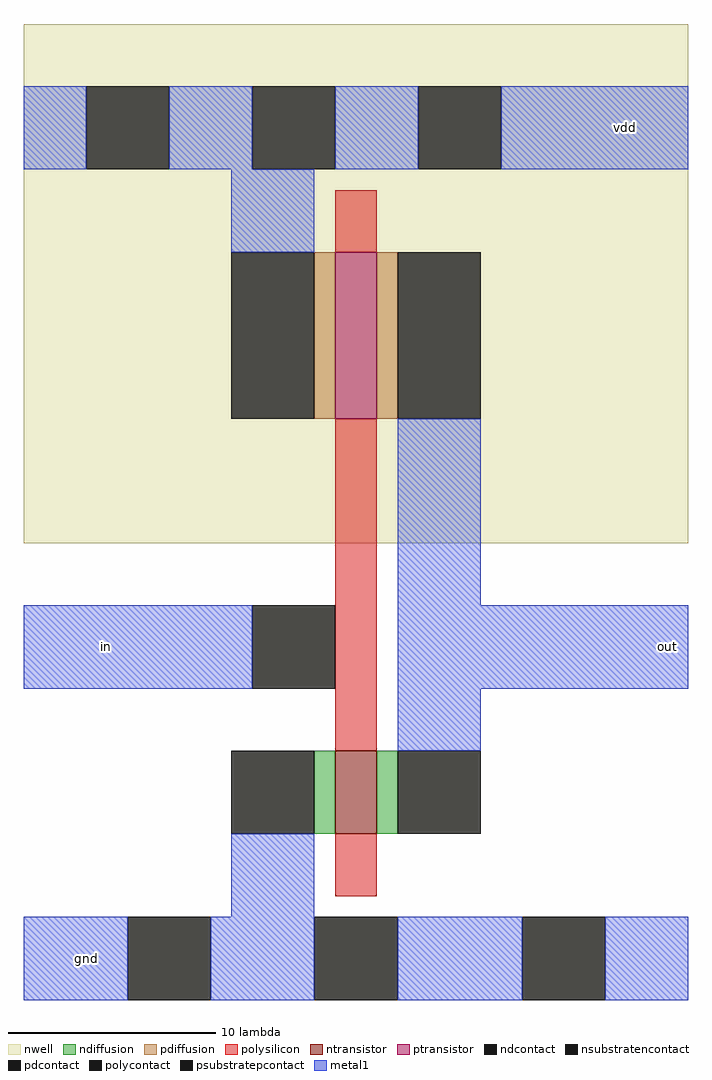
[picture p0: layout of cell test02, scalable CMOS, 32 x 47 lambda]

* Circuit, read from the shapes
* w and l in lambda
.subckt test02 gnd in out vdd
M1 out in gnd gnd nfet w=4 l=2
M2 out in vdd vdd pfet w=8 l=2
.ends

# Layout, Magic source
magic
tech scmos
<< nwell >>
rect -25 -6 7 19
<< ntransistor >>
rect -10 -20 -8 -16
<< ptransistor >>
rect -10 0 -8 8
<< ndiffusion >>
rect -11 -20 -10 -16
rect -8 -20 -7 -16
<< pdiffusion >>
rect -11 0 -10 8
rect -8 0 -7 8
<< ndcontact >>
rect -15 -20 -11 -16
rect -7 -20 -3 -16
<< pdcontact >>
rect -15 0 -11 8
rect -7 0 -3 8
<< psubstratepcontact >>
rect -20 -28 -16 -24
rect -11 -28 -7 -24
rect -1 -28 3 -24
<< nsubstratencontact >>
rect -22 12 -18 16
rect -14 12 -10 16
rect -6 12 -2 16
<< polysilicon >>
rect -10 8 -8 11
rect -10 -16 -8 0
rect -10 -23 -8 -20
<< polycontact >>
rect -14 -13 -10 -9
<< metal1 >>
rect -25 12 -22 16
rect -18 12 -14 16
rect -10 12 -6 16
rect -2 12 7 16
rect -15 8 -11 12
rect -7 -9 -3 0
rect -25 -13 -14 -9
rect -7 -13 7 -9
rect -7 -16 -3 -13
rect -15 -24 -11 -20
rect -25 -28 -20 -24
rect -16 -28 -11 -24
rect -7 -28 -1 -24
rect 3 -28 7 -24
<< labels >>
rlabel metal1 -21 -13 -21 -9 3 in
rlabel metal1 6 -13 6 -9 7 out
rlabel metal1 -22 -28 -22 -24 2 gnd
rlabel metal1 4 12 4 16 6 vdd
<< end >>
